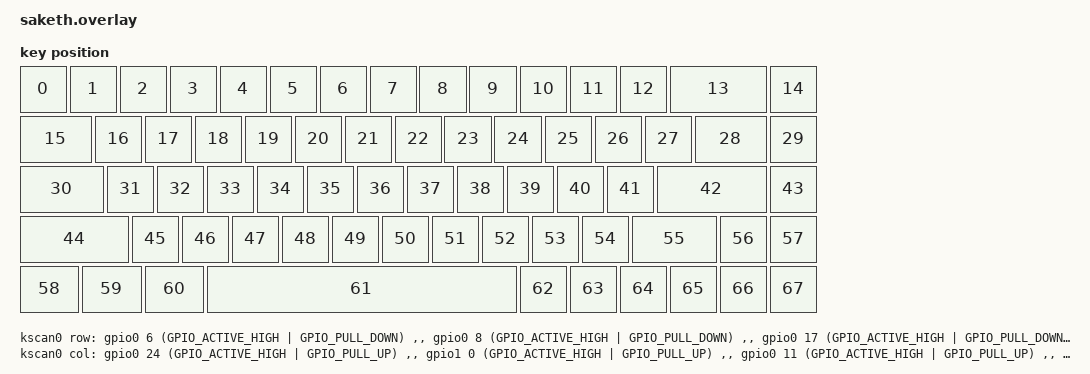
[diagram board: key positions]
/*
 * Copyright (c) 2020 The ZMK Contributors
 *
 * SPDX-License-Identifier: MIT
 */

// This ZMK overlay is for a 65% ANSI keyboard using a precise
// physical layout definition. It combines the physical layout
// with a corresponding key scan matrix and a matrix transform.

#include <physical_layouts.dtsi>

/ {
    chosen {
        zmk,kscan = &kscan0;
        zmk,physical-layout = &physical_layout0;
    };
    
    // This node defines the physical attributes of each key, including
    // its width, height, and position. The order of these key definitions
    // should correspond to the order of the `zmk,matrix-transform`.
    physical_layout0: physical_layout_0 {
        compatible = "zmk,physical-layout";
        display-name = "65% ANSI";

        kscan = <&kscan0>;
        transform = <&matrix_transform0>;

        keys
            = <&key_physical_attrs 100 100    0    0       0      0      0>
            , <&key_physical_attrs 100 100  100    0       0      0      0>
            , <&key_physical_attrs 100 100  200    0       0      0      0>
            , <&key_physical_attrs 100 100  300    0       0      0      0>
            , <&key_physical_attrs 100 100  400    0       0      0      0>
            , <&key_physical_attrs 100 100  500    0       0      0      0>
            , <&key_physical_attrs 100 100  600    0       0      0      0>
            , <&key_physical_attrs 100 100  700    0       0      0      0>
            , <&key_physical_attrs 100 100  800    0       0      0      0>
            , <&key_physical_attrs 100 100  900    0       0      0      0>
            , <&key_physical_attrs 100 100 1000    0       0      0      0>
            , <&key_physical_attrs 100 100 1100    0       0      0      0>
            , <&key_physical_attrs 100 100 1200    0       0      0      0>
            , <&key_physical_attrs 200 100 1300    0       0      0      0>
            , <&key_physical_attrs 100 100 1500    0       0      0      0>
            , <&key_physical_attrs 150 100    0  100       0      0      0>
            , <&key_physical_attrs 100 100  150  100       0      0      0>
            , <&key_physical_attrs 100 100  250  100       0      0      0>
            , <&key_physical_attrs 100 100  350  100       0      0      0>
            , <&key_physical_attrs 100 100  450  100       0      0      0>
            , <&key_physical_attrs 100 100  550  100       0      0      0>
            , <&key_physical_attrs 100 100  650  100       0      0      0>
            , <&key_physical_attrs 100 100  750  100       0      0      0>
            , <&key_physical_attrs 100 100  850  100       0      0      0>
            , <&key_physical_attrs 100 100  950  100       0      0      0>
            , <&key_physical_attrs 100 100 1050  100       0      0      0>
            , <&key_physical_attrs 100 100 1150  100       0      0      0>
            , <&key_physical_attrs 100 100 1250  100       0      0      0>
            , <&key_physical_attrs 150 100 1350  100       0      0      0>
            , <&key_physical_attrs 100 100 1500  100       0      0      0>
            , <&key_physical_attrs 175 100    0  200       0      0      0>
            , <&key_physical_attrs 100 100  175  200       0      0      0>
            , <&key_physical_attrs 100 100  275  200       0      0      0>
            , <&key_physical_attrs 100 100  375  200       0      0      0>
            , <&key_physical_attrs 100 100  475  200       0      0      0>
            , <&key_physical_attrs 100 100  575  200       0      0      0>
            , <&key_physical_attrs 100 100  675  200       0      0      0>
            , <&key_physical_attrs 100 100  775  200       0      0      0>
            , <&key_physical_attrs 100 100  875  200       0      0      0>
            , <&key_physical_attrs 100 100  975  200       0      0      0>
            , <&key_physical_attrs 100 100 1075  200       0      0      0>
            , <&key_physical_attrs 100 100 1175  200       0      0      0>
            , <&key_physical_attrs 225 100 1275  200       0      0      0>
            , <&key_physical_attrs 100 100 1500  200       0      0      0>
            , <&key_physical_attrs 225 100    0  300       0      0      0>
            , <&key_physical_attrs 100 100  225  300       0      0      0>
            , <&key_physical_attrs 100 100  325  300       0      0      0>
            , <&key_physical_attrs 100 100  425  300       0      0      0>
            , <&key_physical_attrs 100 100  525  300       0      0      0>
            , <&key_physical_attrs 100 100  625  300       0      0      0>
            , <&key_physical_attrs 100 100  725  300       0      0      0>
            , <&key_physical_attrs 100 100  825  300       0      0      0>
            , <&key_physical_attrs 100 100  925  300       0      0      0>
            , <&key_physical_attrs 100 100 1025  300       0      0      0>
            , <&key_physical_attrs 100 100 1125  300       0      0      0>
            , <&key_physical_attrs 175 100 1225  300       0      0      0>
            , <&key_physical_attrs 100 100 1400  300       0      0      0>
            , <&key_physical_attrs 100 100 1500  300       0      0      0>
            , <&key_physical_attrs 125 100    0  400       0      0      0>
            , <&key_physical_attrs 125 100  125  400       0      0      0>
            , <&key_physical_attrs 125 100  250  400       0      0      0>
            , <&key_physical_attrs 625 100  375  400       0      0      0>
            , <&key_physical_attrs 100 100 1000  400       0      0      0>
            , <&key_physical_attrs 100 100 1100  400       0      0      0>
            , <&key_physical_attrs 100 100 1200  400       0      0      0>
            , <&key_physical_attrs 100 100 1300  400       0      0      0>
            , <&key_physical_attrs 100 100 1400  400       0      0      0>
            , <&key_physical_attrs 100 100 1500  400       0      0      0>
            ;
    };
    
    // This node defines the matrix transformation.
    // It maps the physical key layout to the logical keymap layout.
    // The order here must correspond to the order of the keys in your keymap file.
    matrix_transform0: keymap_transform_0 {
        compatible = "zmk,matrix-transform";
        columns = <15>;
        rows = <5>;

        map = <
            // Row 0 (15 keys)
            0 0, 0 1, 0 2, 0 3, 0 4, 0 5, 0 6, 0 7, 0 8, 0 9, 0 10, 0 11, 0 12, 0 13, 0 14,
            // Row 1 (15 keys)
            1 0, 1 1, 1 2, 1 3, 1 4, 1 5, 1 6, 1 7, 1 8, 1 9, 1 10, 1 11, 1 12, 1 13, 1 14,
            // Row 2 (15 keys)
            2 0, 2 1, 2 2, 2 3, 2 4, 2 5, 2 6, 2 7, 2 8, 2 9, 2 10, 2 11, 2 12, 2 13, 2 14,
            // Row 3 (15 keys)
            3 0, 3 1, 3 2, 3 3, 3 4, 3 5, 3 6, 3 7, 3 8, 3 9, 3 10, 3 11, 3 12, 3 13, 3 14,
            // Row 4 (10 keys)
            4 0, 4 1, 4 2, 4 3, 4 4, 4 5, 4 6, 4 7, 4 8, 4 9
        >;
    };

    // This node defines the hardware scanning properties of the matrix.
    // The GPIOs specified here should match your physical wiring.
    kscan0: kscan {
        compatible = "zmk,kscan-gpio-matrix";
        label = "KSCAN";
        diode-direction = "col2row";
        
        row-gpios = <
            &gpio0 6  (GPIO_ACTIVE_HIGH | GPIO_PULL_DOWN)
            , &gpio0 8  (GPIO_ACTIVE_HIGH | GPIO_PULL_DOWN)
            , &gpio0 17 (GPIO_ACTIVE_HIGH | GPIO_PULL_DOWN)
            , &gpio0 20 (GPIO_ACTIVE_HIGH | GPIO_PULL_DOWN)
            , &gpio0 22 (GPIO_ACTIVE_HIGH | GPIO_PULL_DOWN)
            ;

        col-gpios = <
            &gpio0 24 (GPIO_ACTIVE_HIGH | GPIO_PULL_UP)
            , &gpio1 0  (GPIO_ACTIVE_HIGH | GPIO_PULL_UP)
            , &gpio0 11 (GPIO_ACTIVE_HIGH | GPIO_PULL_UP)
            , &gpio1 4  (GPIO_ACTIVE_HIGH | GPIO_PULL_UP)
            , &gpio1 6  (GPIO_ACTIVE_HIGH | GPIO_PULL_UP)
            , &gpio0 9  (GPIO_ACTIVE_HIGH | GPIO_PULL_UP)
            , &gpio0 10 (GPIO_ACTIVE_HIGH | GPIO_PULL_UP)
            , &gpio1 11 (GPIO_ACTIVE_HIGH | GPIO_PULL_UP)
            , &gpio1 13 (GPIO_ACTIVE_HIGH | GPIO_PULL_UP)
            , &gpio0 2  (GPIO_ACTIVE_HIGH | GPIO_PULL_UP)
            , &gpio0 29 (GPIO_ACTIVE_HIGH | GPIO_PULL_UP)
            , &gpio0 31 (GPIO_ACTIVE_HIGH | GPIO_PULL_UP)
            , &gpio0 3  (GPIO_ACTIVE_HIGH | GPIO_PULL_UP)
            , &gpio0 4  (GPIO_ACTIVE_HIGH | GPIO_PULL_UP)
            , &gpio0 5  (GPIO_ACTIVE_HIGH | GPIO_PULL_UP)
            ;
    };
};
